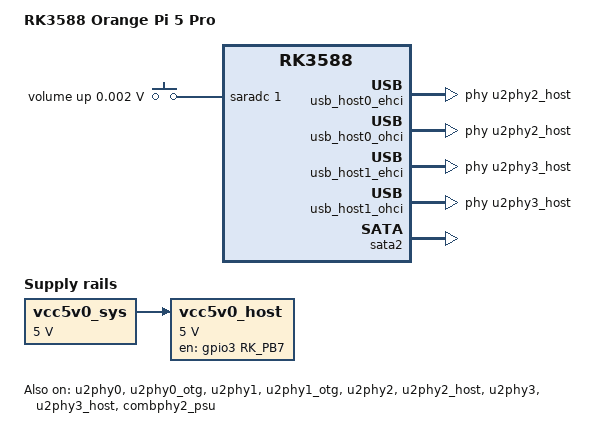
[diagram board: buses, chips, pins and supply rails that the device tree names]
// SPDX-License-Identifier: (GPL-2.0+ OR MIT)
/*
 * Copyright (c) 2021 Rockchip Electronics Co., Ltd
 *
 */

/dts-v1/;
#include "rk3588.dtsi"
#include "rk3588-u-boot.dtsi"
#include <dt-bindings/input/input.h>

/ {
	model = "RK3588 Orange Pi 5 Pro";
	compatible = "rockchip,rk3588-orangepi-5-pro", "rockchip,rk3588";

	adc-keys {
		compatible = "adc-keys";
		io-channels = <&saradc 1>;
		io-channel-names = "buttons";
		keyup-threshold-microvolt = <1800000>;
		u-boot,dm-pre-reloc;
		status = "okay";

		volumeup-key {
			u-boot,dm-pre-reloc;
			linux,code = <KEY_VOLUMEUP>;
			label = "volume up";
			press-threshold-microvolt = <1750>;
		};
	};

	vcc5v0_sys: vcc5v0-sys {
		u-boot,dm-pre-reloc;
		compatible = "regulator-fixed";
		regulator-name = "vcc5v0_sys";
		regulator-always-on;
		regulator-boot-on;
		regulator-min-microvolt = <5000000>;
		regulator-max-microvolt = <5000000>;
	};

	vcc5v0_host: vcc5v0-host {
		u-boot,dm-pre-reloc;
		compatible = "regulator-fixed";
		regulator-name = "vcc5v0_host";
		regulator-boot-on;
		regulator-always-on;
		regulator-min-microvolt = <5000000>;
		regulator-max-microvolt = <5000000>;
		enable-active-high;
		gpio = <&gpio3 RK_PB7 GPIO_ACTIVE_HIGH>;
		vin-supply = <&vcc5v0_sys>;
	};
};

&u2phy0 {
	u-boot,dm-pre-reloc;
	status = "okay";
};

&u2phy0_otg {
	u-boot,dm-pre-reloc;
	status = "okay";
};


&u2phy1 {
	u-boot,dm-pre-reloc;
	status = "okay";
};

&u2phy1_otg {
	u-boot,dm-pre-reloc;
	status = "okay";
};

&u2phy2 {
	u-boot,dm-pre-reloc;
	status = "okay";
};

&u2phy2_host {
	u-boot,dm-pre-reloc;
	status = "okay";
};

&u2phy3 {
	u-boot,dm-pre-reloc;
	status = "okay";
};

&u2phy3_host {
	u-boot,dm-pre-reloc;
	status = "okay";
};

&usb_host0_ehci {
	u-boot,dm-pre-reloc;
	compatible = "rockchip,rk3588-ehci", "generic-ehci";
	reg = <0x0 0xfc800000 0x0 0x40000>;
	interrupts = <0 215 4>;
	clocks = <&cru 413>, <&cru 414>, <&u2phy2>;
	clock-names = "usbhost", "arbiter", "utmi";
	companion = <&usb_host0_ohci>;
	phys = <&u2phy2_host>;
	phy-names = "usb2-phy";
	power-domains = <&power 31>;
	status = "okay";
};

&usb_host0_ohci {
	u-boot,dm-pre-reloc;
	compatible = "generic-ohci";
	reg = <0x0 0xfc840000 0x0 0x40000>;
	interrupts = <0 216 4>;
	clocks = <&cru 413>, <&cru 414>, <&u2phy2>;
	clock-names = "usbhost", "arbiter", "utmi";
	phys = <&u2phy2_host>;
	phy-names = "usb2-phy";
	power-domains = <&power 31>;
	status = "okay";
};

&usb_host1_ehci {
	u-boot,dm-pre-reloc;
	compatible = "rockchip,rk3588-ehci", "generic-ehci";
	reg = <0x0 0xfc880000 0x0 0x40000>;
	interrupts = <0 218 4>;
	clocks = <&cru 415>, <&cru 416>, <&u2phy3>;
	clock-names = "usbhost", "arbiter", "utmi";
	companion = <&usb_host1_ohci>;
	phys = <&u2phy3_host>;
	phy-names = "usb2-phy";
	power-domains = <&power 31>;
	status = "okay";
};

&usb_host1_ohci {
	u-boot,dm-pre-reloc;
	compatible = "generic-ohci";
	reg = <0x0 0xfc8c0000 0x0 0x40000>;
	interrupts = <0 219 4>;
	clocks = <&cru 415>, <&cru 416>, <&u2phy3>;
	clock-names = "usbhost", "arbiter", "utmi";
	phys = <&u2phy3_host>;
	phy-names = "usb2-phy";
	power-domains = <&power 31>;
	status = "okay";
};

&sata_reset {
	rockchip,pins =
		<4 RK_PA2 RK_FUNC_GPIO &pcfg_pull_up>;
};

#if 1
&sata2 {
	u-boot,dm-pre-reloc;
	pinctrl-names = "default";
	pinctrl-0 = <&sata_reset>;
	status = "okay";
};

# else

&pcie2x1l1 {
	u-boot,dm-pre-reloc;
	reset-gpios = <&gpio4 RK_PA2 GPIO_ACTIVE_HIGH>;
	status = "okay";
};
#endif

&combphy2_psu {
	u-boot,dm-pre-reloc;
        status = "okay";
};
